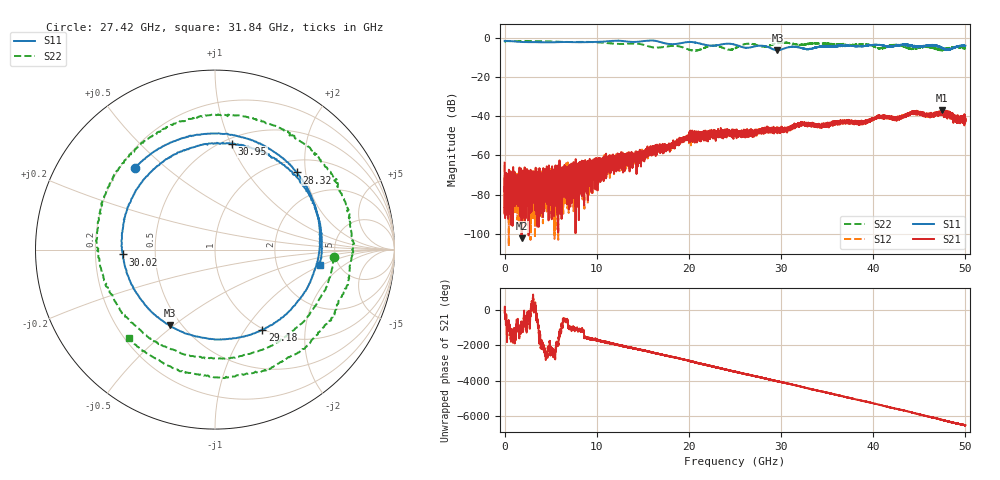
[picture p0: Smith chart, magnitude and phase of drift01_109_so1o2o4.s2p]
!Created with skrf (http://scikit-rf.org).
# Hz S RI R 50.0
!freq ReS11 ImS11 ReS21 ImS21 ReS12 ImS12 ReS22 ImS22
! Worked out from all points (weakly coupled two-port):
!   10001 points, 300 kHz to 50 GHz, reference 50 ohm
!   highest |S21| = -36.96 dB at 47.42 GHz (marker M1); lowest = -102.5 dB at 1.845 GHz (marker M2)
!   lowest |S11| = -6.2 dB at 29.61 GHz (marker M3), VSWR 2.93, Z = 21.7 - j24.3 ohm
!   |S11| at or under -10 dB: nowhere
!   |S22| runs from -6.4 to -1.4 dB; largest |S21 - S12| = 0.0041
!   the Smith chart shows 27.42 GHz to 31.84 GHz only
!   S11 on the Smith chart (normalised r, x): 27.42 GHz: 0.26, +0.39; 28.32 GHz: 1.26, +1.78; 29.18 GHz: 0.99, -1.20; 30.02 GHz: 0.32, -0.02; 30.95 GHz: 0.55, +1.01; 31.84 GHz: 3.63, -0.93
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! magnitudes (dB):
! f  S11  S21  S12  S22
! 300 kHz  -1.3  -63.7  -64.8  -2.1
! 255.3 MHz  -1.4  -73.8  -78.6  -1.4
! 1.845 GHz  -1.9  -102.5  -89.0  -1.4
! 3.89 GHz  -2.0  -75.8  -79.5  -1.5
! 8.335 GHz  -2.0  -70.8  -71.1  -1.8
! 10.86 GHz  -1.6  -64.5  -61.8  -2.3
! 16.67 GHz  -1.6  -55.9  -56.2  -4.8
! 18.62 GHz  -2.9  -53.6  -53.4  -3.9
! 20.31 GHz  -1.9  -51.6  -49.3  -6.1
! 22.62 GHz  -3.8  -48.9  -49.2  -3.8
! 25 GHz  -3.3  -47.4  -49.6  -5.0
! 27.42 GHz  -3.9  -48.3  -48.7  -3.5
! 28.32 GHz  -4.1  -46.9  -48.5  -4.3
! 29.18 GHz  -5.7  -47.3  -47.2  -3.0
! 29.61 GHz  -6.2  -46.7  -46.6  -2.5
! 30.02 GHz  -5.8  -47.2  -46.6  -2.3
! 30.95 GHz  -4.5  -45.9  -46.1  -2.5
! 31.84 GHz  -4.6  -44.4  -43.8  -3.3
! 33.34 GHz  -5.3  -44.9  -44.1  -2.7
! 41.67 GHz  -4.2  -40.2  -40.8  -4.2
! 47.42 GHz  -4.9  -37.0  -38.5  -5.6
! 50 GHz  -3.8  -41.6  -42.0  -5.3
